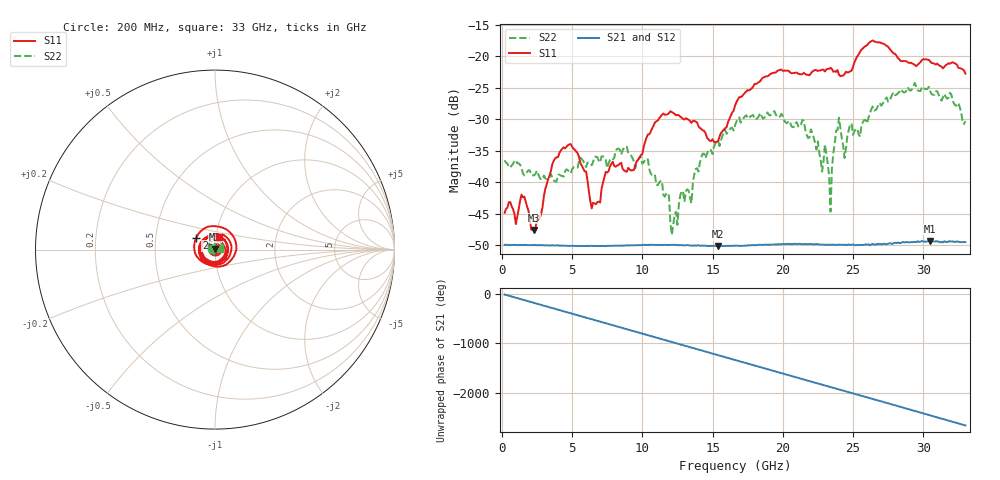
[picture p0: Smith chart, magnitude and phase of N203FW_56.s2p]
# GHZ S RI R 50
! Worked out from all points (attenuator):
!   329 points, 200 MHz to 33 GHz, reference 50 ohm
!   highest |S21| = -49.33 dB at 30.5 GHz (marker M1); lowest = -50.2 dB at 15.4 GHz (marker M2)
!   lowest |S11| = -47.6 dB at 2.3 GHz (marker M3), VSWR 1.01, Z = 50.1 + j0.405 ohm
!   |S11| at or under -10 dB: start of sweep to end of sweep
!   |S22| runs from -48.3 to -24.2 dB; largest |S21 - S12| = 8.8e-05
!   S11 on the Smith chart (normalised r, x): 200 MHz: 1.01, +0.00; 26 GHz: 0.81, +0.11; 33 GHz: 1.03, +0.15
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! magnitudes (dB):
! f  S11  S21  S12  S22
! 200 MHz  -44.9  -49.9  -49.9  -36.5
! 1.4 GHz  -42.0  -50.0  -50.0  -37.7
! 2.3 GHz  -47.6  -50.0  -50.0  -38.9
! 4.2 GHz  -34.9  -50.1  -50.1  -38.9
! 5.7 GHz  -37.4  -50.1  -50.1  -36.4
! 6.4 GHz  -44.1  -50.1  -50.1  -37.3
! 8.8 GHz  -38.3  -50.0  -50.0  -34.3
! 11.2 GHz  -29.9  -50.0  -49.9  -40.1
! 12.1 GHz  -28.9  -49.9  -49.9  -48.3
! 15.4 GHz  -33.5  -50.2  -50.1  -33.5
! 16.6 GHz  -27.8  -50.1  -50.1  -30.9
! 22.1 GHz  -22.4  -49.8  -49.8  -32.2
! 22.8 GHz  -22.1  -49.9  -49.9  -38.3
! 23 GHz  -22.4  -49.9  -49.9  -34.0
! 23.4 GHz  -21.8  -49.9  -49.9  -44.7
! 23.5 GHz  -22.0  -49.9  -49.9  -37.8
! 24 GHz  -22.9  -49.9  -49.9  -29.7
! 24.4 GHz  -22.8  -50.0  -49.9  -36.1
! 26 GHz  -18.2  -49.9  -49.9  -30.6
! 27.6 GHz  -18.8  -49.7  -49.7  -27.1
! 30.5 GHz  -20.8  -49.3  -49.4  -25.6
! 33 GHz  -22.7  -49.5  -49.6  -30.3
